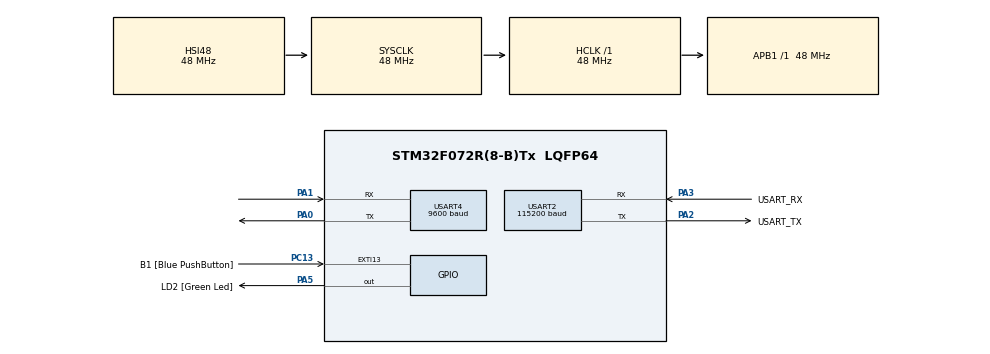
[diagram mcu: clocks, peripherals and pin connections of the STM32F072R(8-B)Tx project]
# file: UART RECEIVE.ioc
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Mcu.Family=STM32F0
Mcu.Name=STM32F072R(8-B)Tx
Mcu.Package=LQFP64
NVIC.USART3_4_IRQn=true\:0\:0\:false\:false\:true\:true\:true
PA0.Mode=Asynchronous
PA0.Signal=USART4_TX
PA1.Mode=Asynchronous
PA1.Signal=USART4_RX
PA13.GPIO_Label=TMS
PA13.Mode=Serial_Wire
PA13.Signal=SYS_SWDIO
PA14.GPIO_Label=TCK
PA14.Mode=Serial_Wire
PA14.Signal=SYS_SWCLK
PA2.GPIO_Label=USART_TX
PA2.GPIO_Mode=GPIO_MODE_AF_PP
PA2.GPIO_PuPd=GPIO_NOPULL
PA2.GPIO_Speed=GPIO_SPEED_FREQ_LOW
PA2.Mode=Asynchronous
PA2.Signal=USART2_TX
PA3.GPIO_Label=USART_RX
PA3.GPIO_Mode=GPIO_MODE_AF_PP
PA3.GPIO_PuPd=GPIO_NOPULL
PA3.GPIO_Speed=GPIO_SPEED_FREQ_LOW
PA3.Mode=Asynchronous
PA3.Signal=USART2_RX
PA5.GPIO_Label=LD2 [Green Led]
PA5.GPIO_Mode=GPIO_MODE_OUTPUT_PP
PA5.GPIO_PuPd=GPIO_NOPULL
PA5.GPIO_Speed=GPIO_SPEED_FREQ_LOW
PA5.Signal=GPIO_Output
PC13.GPIO_Label=B1 [Blue PushButton]
PC13.GPIO_ModeDefaultEXTI=GPIO_MODE_IT_FALLING
PC13.Signal=GPXTI13
PC14-OSC32_IN.Mode=LSE-External-Oscillator
PC14-OSC32_IN.Signal=RCC_OSC32_IN
PC15-OSC32_OUT.Mode=LSE-External-Oscillator
PC15-OSC32_OUT.Signal=RCC_OSC32_OUT
PF0-OSC_IN.Mode=HSE-External-Clock-Source
PF0-OSC_IN.Signal=RCC_OSC_IN
PF1-OSC_OUT.Signal=RCC_OSC_OUT
ProjectManager.HeapSize=0x200
ProjectManager.StackSize=0x400
ProjectManager.TargetToolchain=STM32CubeIDE
RCC.AHBFreq_Value=48000000
RCC.APB1Freq_Value=48000000
RCC.APB1TimFreq_Value=48000000
RCC.FLatency-AdvancedSettings=FLASH_LATENCY_1
RCC.HCLKFreq_Value=48000000
RCC.PLLDivider=RCC_PREDIV_DIV2
RCC.PLLMUL=RCC_PLL_MUL12
RCC.PREFETCH_ENABLE-AdvancedSettings=1
RCC.SYSCLKFreq_VALUE=48000000
RCC.SYSCLKSource=RCC_SYSCLKSOURCE_HSI48
USART2.BaudRate=115200
USART2.VirtualMode=VM_ASYNC
USART2.VirtualMode-Asynchronous=VM_ASYNC
USART4.BaudRate=9600
USART4.VirtualMode-Asynchronous=VM_ASYNC
board=NUCLEO-F072RB

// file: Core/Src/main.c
/* USER CODE BEGIN Header */
/**
 ******************************************************************************
 * @file           : main.c
 * @brief          : Main program body
 ******************************************************************************
 * @attention
 *
 * <h2><center>&copy; Copyright (c) 2021 STMicroelectronics.
 * All rights reserved.</center></h2>
 *
 * This software component is licensed by ST under BSD 3-Clause license,
 * the "License"; You may not use this file except in compliance with the
 * License. You may obtain a copy of the License at:
 *                        opensource.org/licenses/BSD-3-Clause
 *
 ******************************************************************************
 */
/* USER CODE END Header */
#include "main.h"

UART_HandleTypeDef huart2;
UART_HandleTypeDef huart4;

/* USER CODE BEGIN PV */
uint8_t str[] = "Hello World!\n\r";
uint8_t received2 = '\0';
uint8_t received4 = '\0';
HAL_StatusTypeDef rcvStat2;
HAL_StatusTypeDef rcvStat4;
/* USER CODE END PV */

void SystemClock_Config(void);
static void MX_GPIO_Init(void);
static void MX_USART2_UART_Init(void);
static void MX_USART4_UART_Init(void);

int main(void)
{

	/* MCU Configuration--------------------------------------------------------*/

	/* Reset of all peripherals, Initializes the Flash interface and the Systick. */
	HAL_Init();

	/* Configure the system clock */
	SystemClock_Config();

	/* Initialize all configured peripherals */
	MX_GPIO_Init();
	MX_USART2_UART_Init();
	MX_USART4_UART_Init();

	/* Infinite loop */
	/* USER CODE BEGIN WHILE */
	while (1)
	{

		// TX
		rcvStat2 = HAL_UART_Receive(&huart2, &received2, 1, 10);
		if (rcvStat2 == HAL_OK)
		{
			HAL_UART_Transmit(&huart2, "TX UART2 : ", 11, 1000);
			HAL_UART_Transmit(&huart2, &received2, 1, 1000);
			HAL_UART_Transmit(&huart2, "\r\n\r\n", 4, 1000);

			HAL_UART_Transmit(&huart4, &received2, 1, 1000);
		}

		// RX
		rcvStat4 = HAL_UART_Receive(&huart4, &received4, 1, 10);
		if (rcvStat4 == HAL_OK)
		{
			HAL_UART_Transmit(&huart2, "RX UART4 : ", 11, 1000);
			HAL_UART_Transmit(&huart2, &received4, 1, 1000);
			HAL_UART_Transmit(&huart2, "\r\n\r\n", 4, 1000);
		}

		/* USER CODE END WHILE */

	}
}

void SystemClock_Config(void)
{
	RCC_OscInitTypeDef RCC_OscInitStruct =
	{ 0 };
	RCC_ClkInitTypeDef RCC_ClkInitStruct =
	{ 0 };
	RCC_PeriphCLKInitTypeDef PeriphClkInit =
	{ 0 };

	/** Initializes the RCC Oscillators according to the specified parameters
	 * in the RCC_OscInitTypeDef structure.
	 */
	RCC_OscInitStruct.OscillatorType = RCC_OSCILLATORTYPE_HSI48;
	RCC_OscInitStruct.HSI48State = RCC_HSI48_ON;
	RCC_OscInitStruct.PLL.PLLState = RCC_PLL_NONE;
	if (HAL_RCC_OscConfig(&RCC_OscInitStruct) != HAL_OK)
	{
		Error_Handler();
	}
	/** Initializes the CPU, AHB and APB buses clocks
	 */
	RCC_ClkInitStruct.ClockType = RCC_CLOCKTYPE_HCLK | RCC_CLOCKTYPE_SYSCLK
			| RCC_CLOCKTYPE_PCLK1;
	RCC_ClkInitStruct.SYSCLKSource = RCC_SYSCLKSOURCE_HSI48;
	RCC_ClkInitStruct.AHBCLKDivider = RCC_SYSCLK_DIV1;
	RCC_ClkInitStruct.APB1CLKDivider = RCC_HCLK_DIV1;

	if (HAL_RCC_ClockConfig(&RCC_ClkInitStruct, FLASH_LATENCY_1) != HAL_OK)
	{
		Error_Handler();
	}
	PeriphClkInit.PeriphClockSelection = RCC_PERIPHCLK_USART2;
	PeriphClkInit.Usart2ClockSelection = RCC_USART2CLKSOURCE_PCLK1;
	if (HAL_RCCEx_PeriphCLKConfig(&PeriphClkInit) != HAL_OK)
	{
		Error_Handler();
	}
}

static void MX_USART2_UART_Init(void)
{

	huart2.Instance = USART2;
	huart2.Init.BaudRate = 115200;
	huart2.Init.WordLength = UART_WORDLENGTH_8B;
	huart2.Init.StopBits = UART_STOPBITS_1;
	huart2.Init.Parity = UART_PARITY_NONE;
	huart2.Init.Mode = UART_MODE_TX_RX;
	huart2.Init.HwFlowCtl = UART_HWCONTROL_NONE;
	huart2.Init.OverSampling = UART_OVERSAMPLING_16;
	huart2.Init.OneBitSampling = UART_ONE_BIT_SAMPLE_DISABLE;
	huart2.AdvancedInit.AdvFeatureInit = UART_ADVFEATURE_NO_INIT;
	if (HAL_UART_Init(&huart2) != HAL_OK)
	{
		Error_Handler();
	}

}

static void MX_USART4_UART_Init(void)
{

	huart4.Instance = USART4;
	huart4.Init.BaudRate = 9600;
	huart4.Init.WordLength = UART_WORDLENGTH_8B;
	huart4.Init.StopBits = UART_STOPBITS_1;
	huart4.Init.Parity = UART_PARITY_NONE;
	huart4.Init.Mode = UART_MODE_TX_RX;
	huart4.Init.HwFlowCtl = UART_HWCONTROL_NONE;
	huart4.Init.OverSampling = UART_OVERSAMPLING_16;
	huart4.Init.OneBitSampling = UART_ONE_BIT_SAMPLE_DISABLE;
	huart4.AdvancedInit.AdvFeatureInit = UART_ADVFEATURE_NO_INIT;
	if (HAL_UART_Init(&huart4) != HAL_OK)
	{
		Error_Handler();
	}

}

static void MX_GPIO_Init(void)
{
	GPIO_InitTypeDef GPIO_InitStruct =
	{ 0 };

	/* GPIO Ports Clock Enable */
	__HAL_RCC_GPIOC_CLK_ENABLE();
	__HAL_RCC_GPIOF_CLK_ENABLE();
	__HAL_RCC_GPIOA_CLK_ENABLE();

	/*Configure GPIO pin Output Level */
	HAL_GPIO_WritePin(LD2_GPIO_Port, LD2_Pin, GPIO_PIN_RESET);

	/*Configure GPIO pin : B1_Pin */
	GPIO_InitStruct.Pin = B1_Pin;
	GPIO_InitStruct.Mode = GPIO_MODE_IT_FALLING;
	GPIO_InitStruct.Pull = GPIO_NOPULL;
	HAL_GPIO_Init(B1_GPIO_Port, &GPIO_InitStruct);

	/*Configure GPIO pin : LD2_Pin */
	GPIO_InitStruct.Pin = LD2_Pin;
	GPIO_InitStruct.Mode = GPIO_MODE_OUTPUT_PP;
	GPIO_InitStruct.Pull = GPIO_NOPULL;
	GPIO_InitStruct.Speed = GPIO_SPEED_FREQ_LOW;
	HAL_GPIO_Init(LD2_GPIO_Port, &GPIO_InitStruct);

}

void Error_Handler(void)
{
	__disable_irq();
	while (1)
	{
	}
}

/************************ (C) COPYRIGHT STMicroelectronics *****END OF FILE****/
